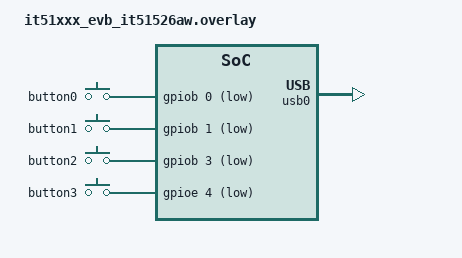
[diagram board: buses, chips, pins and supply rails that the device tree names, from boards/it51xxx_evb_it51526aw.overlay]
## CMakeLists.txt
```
# SPDX-License-Identifier: Apache-2.0

cmake_minimum_required(VERSION 3.20.0)
find_package(Zephyr REQUIRED HINTS $ENV{ZEPHYR_BASE})
project(hid-mouse)

set(SAMPLE_USBD_DIR ${ZEPHYR_BASE}/samples/subsys/usb/common)
FILE(GLOB app_sources src/*.c)

target_include_directories(app PRIVATE ${SAMPLE_USBD_DIR})

target_sources(app PRIVATE ${app_sources})

target_sources_ifdef(CONFIG_USB_DEVICE_STACK_NEXT app PRIVATE
	${SAMPLE_USBD_DIR}/sample_usbd_init.c
)
```

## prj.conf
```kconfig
#CONFIG_USB_DEVICE_STACK=y
#CONFIG_USB_DEVICE_HID=y
#CONFIG_USB_DEVICE_PRODUCT="Zephyr HID mouse sample"
#CONFIG_USB_DEVICE_PID=0x0007
#CONFIG_USB_DEVICE_INITIALIZE_AT_BOOT=n
#
#CONFIG_LOG=y
#CONFIG_USB_DRIVER_LOG_LEVEL_ERR=y
#CONFIG_USB_DEVICE_LOG_LEVEL_ERR=y
#
#CONFIG_GPIO=y
#CONFIG_INPUT=y

CONFIG_USB_DEVICE_STACK_NEXT=y
CONFIG_USBD_HID_SUPPORT=y

CONFIG_LOG=y
CONFIG_USBD_LOG_LEVEL_WRN=y
CONFIG_USBD_HID_LOG_LEVEL_DBG=y
CONFIG_UDC_DRIVER_LOG_LEVEL_WRN=y
CONFIG_SAMPLE_USBD_PID=0x0007
CONFIG_SAMPLE_USBD_REMOTE_WAKEUP=y

CONFIG_GPIO=y
CONFIG_INPUT=y
```

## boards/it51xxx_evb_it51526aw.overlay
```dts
/*
 * Copyright (c) 2026 ITE Corporation. All Rights Reserved.
 *
 * SPDX-License-Identifier: Apache-2.0
 */

#include <zephyr/dt-bindings/input/input-event-codes.h>

/ {

	aliases {
		sw0 = &button0;
		sw1 = &button1;
		sw2 = &button2;
		sw3 = &button3;
	};

	buttons {
		compatible = "gpio-keys";

		button0: button_0 {
			gpios = <&gpiob 0 (GPIO_PULL_UP | GPIO_ACTIVE_LOW)>;
			zephyr,code = <INPUT_KEY_0>;
		};
		button1: button_1 {
			gpios = <&gpiob 1 (GPIO_PULL_UP | GPIO_ACTIVE_LOW)>;
			zephyr,code = <INPUT_KEY_1>;
		};
		button2: button_2 {
			gpios = <&gpiob 3 (GPIO_PULL_UP | GPIO_ACTIVE_LOW)>;
			zephyr,code = <INPUT_KEY_2>;
		};
		button3: button_3 {
			gpios = <&gpioe 4 (GPIO_PULL_UP | GPIO_ACTIVE_LOW)>;
			zephyr,code = <INPUT_KEY_3>;
		};
	};

	hid_dev_0: hid_dev_0 {
		compatible = "zephyr,hid-device";
		label = "HID0";
		protocol-code = "none";
		in-polling-period-us = <1000>;
		in-report-size = <64>;
	};
};

zephyr_udc0: &usb0 {
	status = "okay";
	pinctrl-0 = <&udc_dm_gpf4_default &udc_dp_gpf5_default>;
	pinctrl-names = "default";
};

&ecpm {
	pll-frequency = <PLL_96000_KHZ>;
};
```

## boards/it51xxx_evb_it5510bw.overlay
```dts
/*
 * Copyright (c) 2026 ITE Corporation. All Rights Reserved.
 *
 * SPDX-License-Identifier: Apache-2.0
 */

#include <zephyr/dt-bindings/input/input-event-codes.h>

/ {

	buttons {
		compatible = "gpio-keys";

		button0: button_0 {
			gpios = <&gpiob 0 (GPIO_PULL_UP | GPIO_ACTIVE_LOW)>;
			zephyr,code = <INPUT_KEY_0>;
		};
		button1: button_1 {
			gpios = <&gpiob 1 (GPIO_PULL_UP | GPIO_ACTIVE_LOW)>;
			zephyr,code = <INPUT_KEY_1>;
		};
		button2: button_2 {
			gpios = <&gpiob 3 (GPIO_PULL_UP | GPIO_ACTIVE_LOW)>;
			zephyr,code = <INPUT_KEY_2>;
		};
		button3: button_3 {
			gpios = <&gpioe 4 (GPIO_PULL_UP | GPIO_ACTIVE_LOW)>;
			zephyr,code = <INPUT_KEY_3>;
		};
	};

	hid_dev_0: hid_dev_0 {
		compatible = "zephyr,hid-device";
		label = "HID0";
		protocol-code = "none";
		in-polling-period-us = <1000>;
		in-report-size = <64>;
	};
};

&zephyr_udc0 {
	status = "okay";
	pinctrl-0 = <&udc_dm_gpf4_default &udc_dp_gpf5_default>;
	pinctrl-names = "default";
};

&ecpm {
	pll-frequency = <PLL_96000_KHZ>;
};
```

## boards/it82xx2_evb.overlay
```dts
#include <zephyr/dt-bindings/input/input-event-codes.h>

/ {
	buttons {
		compatible = "gpio-keys";

		button_0 {
			gpios = <&gpioa 0 (GPIO_PULL_UP | GPIO_ACTIVE_LOW)>;
			zephyr,code = <INPUT_KEY_0>;
		};
		button_1 {
			gpios = <&gpioa 1 (GPIO_PULL_UP | GPIO_ACTIVE_LOW)>;
			zephyr,code = <INPUT_KEY_1>;
		};
		button_2 {
			gpios = <&gpioa 2 (GPIO_PULL_UP | GPIO_ACTIVE_LOW)>;
			zephyr,code = <INPUT_KEY_2>;
		};
		button_3 {
			gpios = <&gpioa 3 (GPIO_PULL_UP | GPIO_ACTIVE_LOW)>;
			zephyr,code = <INPUT_KEY_3>;
		};
	};

	hid_dev_0: hid_dev_0 {
		compatible = "zephyr,hid-device";
		label = "HID0";
		protocol-code = "none";
		in-polling-period-us = <1000>;
		in-report-size = <64>;
	};
};
```

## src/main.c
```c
/*
 * Copyright (c) 2018 qianfan Zhao
 * Copyright (c) 2018, 2023 Nordic Semiconductor ASA
 *
 * SPDX-License-Identifier: Apache-2.0
 */

#include <sample_usbd.h>

#include <string.h>

#include <zephyr/kernel.h>
#include <zephyr/device.h>
#include <zephyr/drivers/gpio.h>
#include <zephyr/input/input.h>
#include <zephyr/sys/util.h>

#include <zephyr/usb/usbd.h>
#include <zephyr/usb/class/usbd_hid.h>

#include <zephyr/logging/log.h>
LOG_MODULE_REGISTER(main, LOG_LEVEL_DBG);

static const struct gpio_dt_spec led0 = GPIO_DT_SPEC_GET(DT_ALIAS(led0), gpios);
static const uint8_t hid_report_desc[] = HID_MOUSE_REPORT_DESC(2);

#define MOUSE_BTN_LEFT		0
#define MOUSE_BTN_RIGHT		1

enum mouse_report_idx {
	MOUSE_BTN_REPORT_IDX = 0,
	MOUSE_X_REPORT_IDX = 1,
	MOUSE_Y_REPORT_IDX = 2,
	MOUSE_WHEEL_REPORT_IDX = 3,
	MOUSE_REPORT_COUNT = 4,
};

K_MSGQ_DEFINE(mouse_msgq, MOUSE_REPORT_COUNT, 2, 1);
static bool mouse_ready;

static void input_cb(struct input_event *evt, void *user_data)
{
	static uint8_t tmp[MOUSE_REPORT_COUNT];

	ARG_UNUSED(user_data);

	switch (evt->code) {
	case INPUT_KEY_0:
		WRITE_BIT(tmp[MOUSE_BTN_REPORT_IDX], MOUSE_BTN_LEFT, evt->value);
		break;
	case INPUT_KEY_1:
		WRITE_BIT(tmp[MOUSE_BTN_REPORT_IDX], MOUSE_BTN_RIGHT, evt->value);
		break;
	case INPUT_KEY_2:
		if (evt->value) {
			tmp[MOUSE_X_REPORT_IDX] += 10U;
		}

		break;
	case INPUT_KEY_3:
		if (evt->value) {
			tmp[MOUSE_Y_REPORT_IDX] += 10U;
		}

		break;
	default:
		LOG_INF("Unrecognized input code %u value %d",
			evt->code, evt->value);
		return;
	}

	if (k_msgq_put(&mouse_msgq, tmp, K_NO_WAIT) != 0) {
		LOG_ERR("Failed to put new input event");
	}

	tmp[MOUSE_X_REPORT_IDX] = 0U;
	tmp[MOUSE_Y_REPORT_IDX] = 0U;

}

INPUT_CALLBACK_DEFINE(NULL, input_cb, NULL);

static void mouse_iface_ready(const struct device *dev, const bool ready)
{
	LOG_INF("HID device %s interface is %s",
		dev->name, ready ? "ready" : "not ready");
	mouse_ready = ready;
}

static int mouse_get_report(const struct device *dev,
			 const uint8_t type, const uint8_t id, const uint16_t len,
			 uint8_t *const buf)
{
	LOG_WRN("Get Report not implemented, Type %u ID %u", type, id);

	return 0;
}

struct hid_device_ops mouse_ops = {
	.iface_ready = mouse_iface_ready,
	.get_report = mouse_get_report,
};

int main(void)
{
	struct usbd_context *sample_usbd;
	const struct device *hid_dev;
	int ret;

	if (!gpio_is_ready_dt(&led0)) {
		LOG_ERR("LED device %s is not ready", led0.port->name);
		return 0;
	}

	ret = gpio_pin_configure_dt(&led0, GPIO_OUTPUT);
	if (ret != 0) {
		LOG_ERR("Failed to configure the LED pin, error: %d", ret);
		return 0;
	}

	hid_dev = DEVICE_DT_GET_ONE(zephyr_hid_device);
	if (!device_is_ready(hid_dev)) {
		LOG_ERR("HID Device is not ready");
		return -EIO;
	}

	ret = hid_device_register(hid_dev,
				  hid_report_desc, sizeof(hid_report_desc),
				  &mouse_ops);
	if (ret != 0) {
		LOG_ERR("Failed to register HID Device, %d", ret);
		return ret;
	}

	sample_usbd = sample_usbd_init_device(NULL);
	if (sample_usbd == NULL) {
		LOG_ERR("Failed to initialize USB device");
		return -ENODEV;
	}

	ret = usbd_enable(sample_usbd);
	if (ret != 0) {
		LOG_ERR("Failed to enable device support");
		return ret;
	}

	LOG_DBG("USB device support enabled");

	while (true) {
		UDC_STATIC_BUF_DEFINE(report, MOUSE_REPORT_COUNT);

		k_msgq_get(&mouse_msgq, &report, K_FOREVER);

		if (!mouse_ready) {
			LOG_INF("USB HID device is not ready");
			continue;
		}

		ret = hid_device_submit_report(hid_dev, MOUSE_REPORT_COUNT, report);
		if (ret) {
			LOG_ERR("HID submit report error, %d", ret);
		} else {
			/* Toggle LED on sent report */
			(void)gpio_pin_toggle(led0.port, led0.pin);
		}
	}

	return 0;
}
```
